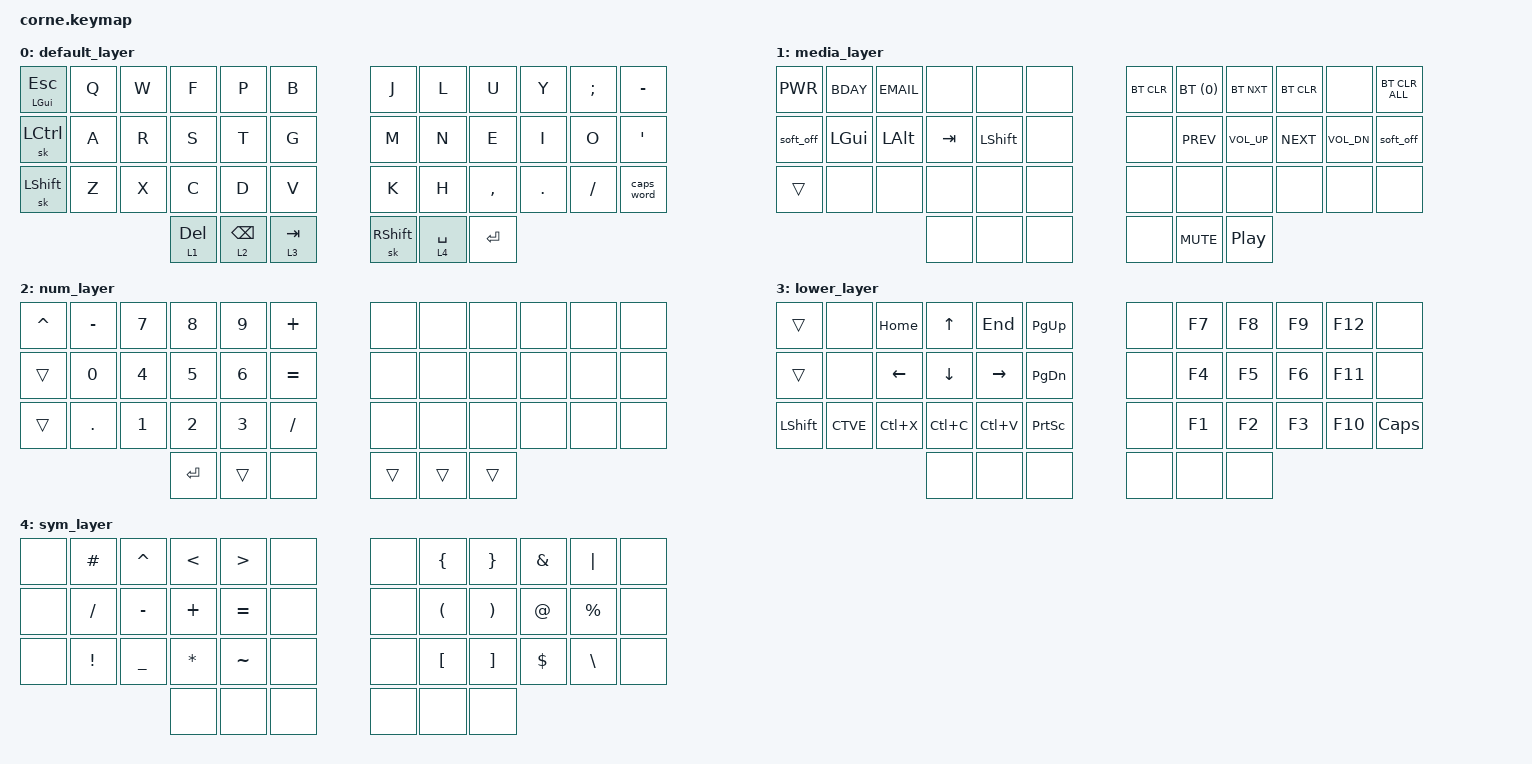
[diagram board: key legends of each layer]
/*
 * Copyright (c) 2020 The ZMK Contributors
 *
 * SPDX-License-Identifier: MIT
 */

#include <behaviors.dtsi>
#include <dt-bindings/zmk/keys.h>
#include <dt-bindings/zmk/bt.h>
#include <dt-bindings/zmk/behaviors.h>

/ {
    macros {
        BDAY: BDAY {
            compatible = "zmk,behavior-macro";
            #binding-cells = <0>;
            bindings
                = <&macro_tap &kp N0 &kp N4 &kp N1 &kp N8 &kp N2 &kp N0 &kp N0 &kp N2>
                ;
        };
        EMAIL: EMAIL {
            compatible = "zmk,behavior-macro";
            #binding-cells = <0>;
            bindings
                = <&macro_tap &kp B &kp M &kp D &kp A &kp R &kp B &kp Y &kp N1 &kp N8 &kp AT &kp G &kp M &kp A &kp I &kp L &kp DOT &kp C &kp O &kp M>
                ;
        };
        CTVE: CTVE {
            compatible = "zmk,behavior-macro";
            #binding-cells = <0>;
            bindings
                = <&macro_press &kp LCTRL>
                , <&macro_tap &kp C &kp T &kp V>
                , <&macro_release &kp LCTRL>
                , <&macro_tap &kp RET>
                ;
        };      
    };
};

&sk {
    quick-release;
};

/  {
        keymap {
                compatible = "zmk,keymap";

                default_layer {
                        bindings = <
   &mt LGUI ESC &kp Q &kp W &kp F &kp P &kp B           &kp J &kp L  &kp U     &kp Y   &kp SEMI &kp MINUS
   &sk LCTRL &kp A &kp R &kp S &kp T &kp G              &kp M &kp N  &kp E     &kp I   &kp O    &kp APOS
   &sk LSHFT &kp Z &kp X &kp C &kp D &kp V               &kp K &kp H  &kp COMMA &kp DOT &kp FSLH &caps_word 
                  &lt 1 DEL &lt 2 BSPC &lt 3 TAB        &sk RSHFT &lt 4 SPACE &kp RET
                        >;
                };
                
                media_layer {
                        bindings = <
   &kp C_PWR  &BDAY     &EMAIL    &none    &none      &none               &bt BT_CLR  &bt BT_SEL (0)  &bt BT_NXT  &bt BT_CLR   &none       &bt BT_CLR_ALL
   &soft_off  &kp LGUI  &kp LALT  &kp TAB  &kp LSHFT  &none               &none  &kp C_PREV    &kp C_VOL_UP  &kp C_NEXT    &kp C_VOL_DN  &soft_off                           
   &trans     &none     &none     &none    &none      &none               &none  &none  &none  &none  &none  &none
                        &none &none &none          &none  &kp C_MUTE  &kp C_PLAY_PAUSE                     
                        >;
                };

                num_layer {
                        bindings = <
   &kp CARET &kp MINUS  &kp N7 &kp N8 &kp N9 &kp PLUS          &none  &none  &none  &none  &none  &none
   &trans    &kp N0     &kp N4 &kp N5 &kp N6 &kp EQUAL          &none  &none  &none  &none  &none  &none
   &trans    &kp DOT    &kp N1 &kp N2 &kp N3 &kp SLASH          &none  &none  &none  &none  &none  &none
                             &kp RET  &trans &none          &trans  &trans  &trans
                        >;
                };

                lower_layer {
                        bindings = <
   &trans   &none &kp HOME  &kp UP    &kp END    &kp PG_UP         &none  &kp F7 &kp F8 &kp F9 &kp F12 &none 
   &trans   &none &kp LEFT  &kp DOWN  &kp RIGHT  &kp PG_DN         &none  &kp F4 &kp F5 &kp F6 &kp F11 &none
   &kp LSHFT   &CTVE &kp LC(X) &kp LC(C) &kp LC(V)  &kp PSCRN         &none  &kp F1 &kp F2 &kp F3 &kp F10 &kp CAPS
                  &none  &none  &none                            &none  &none  &none  
                        >;
                };
                
                sym_layer {
                        bindings = <
   &none  &kp HASH   &kp CARET &kp LT   &kp GT     &none         &none  &kp LBRC &kp RBRC &kp AMPS &kp PIPE &none 
   &none  &kp SLASH  &kp MINUS &kp PLUS &kp EQUAL  &none         &none  &kp LPAR &kp RPAR &kp AT   &kp PRCNT &none
   &none  &kp EXCL   &kp UNDER &kp STAR &kp TILDE  &none         &none  &kp LBKT &kp RBKT &kp DLLR &kp BSLH &none
                  &none  &none &none     &none &none  &none 
                        >;
                };
        };
};
